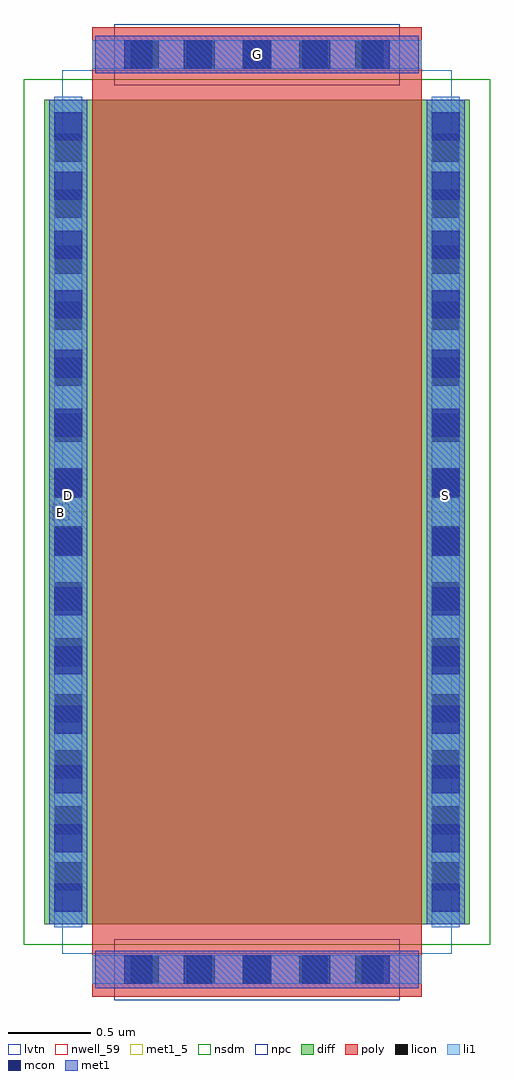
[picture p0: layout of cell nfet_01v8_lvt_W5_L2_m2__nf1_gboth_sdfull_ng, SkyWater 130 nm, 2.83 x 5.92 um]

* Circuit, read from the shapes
.subckt nfet_01v8_lvt_W5_L2_m2__nf1_gboth_sdfull_ng B D G S
XM1 S G D B sky130_fd_pr__nfet_01v8_lvt w=5 l=2
.ends

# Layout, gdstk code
import gdstk
lib = gdstk.Library(unit=1e-6, precision=1e-09)
def R(c, l, rs):  # rectangles x0, y0, x1, y1
    for r in rs: c.add(gdstk.rectangle(r[:2], r[2:], *l))
def A(c, l, x, y, w, h, nx, ny, dx, dy):  # array of equal rectangles
    R(c, l, [(x+i*dx, y+j*dy, x+i*dx+w, y+j*dy+h) for i in range(nx) for j in range(ny)])
nwell_59 = (64, 59)
diff = (65, 20)
poly = (66, 20)
licon = (66, 44)
li1 = (67, 20)
mcon = (67, 44)
met1_5 = (68, 5)
met1 = (68, 20)
nsdm = (93, 44)
npc = (95, 20)
lvtn = (125, 44)

sky130_fd_pr__nfet_01v8_ = lib.new_cell('sky130_fd_pr__nfet_01v8_lvt_ZCNT58')
R(sky130_fd_pr__nfet_01v8_, diff, [(-1.29,-2.5,1.29,2.5)])
R(sky130_fd_pr__nfet_01v8_, poly, [(-1,-2.94,1,2.94)])
A(sky130_fd_pr__nfet_01v8_, licon, -0.765, -2.86, 0.17, 0.17, 5, 2, 0.34, 5.55)
A(sky130_fd_pr__nfet_01v8_, licon, -1.23, -2.295, 0.17, 0.17, 1, 14, 0, 0.34)
A(sky130_fd_pr__nfet_01v8_, licon, 1.06, -2.295, 0.17, 0.17, 1, 14, 0, 0.34)
R(sky130_fd_pr__nfet_01v8_, li1, [(-1,-2.86,1,-2.69), (-1.23,-2.52,-1.06,2.52), (1.06,-2.52,1.23,2.52), (-1,2.69,1,2.86)])
A(sky130_fd_pr__nfet_01v8_, mcon, -0.805, -2.86, 0.17, 0.17, 5, 2, 0.36, 5.55)
A(sky130_fd_pr__nfet_01v8_, mcon, -1.23, -2.425, 0.17, 0.17, 1, 14, 0, 0.36)
A(sky130_fd_pr__nfet_01v8_, mcon, 1.06, -2.425, 0.17, 0.17, 1, 14, 0, 0.36)
R(sky130_fd_pr__nfet_01v8_, met1, [(-0.98,-2.89,0.98,-2.66), (-1.26,-2.5,-1.03,2.5), (1.03,-2.5,1.26,2.5), (-0.98,2.66,0.98,2.89)])
R(sky130_fd_pr__nfet_01v8_, nsdm, [(-1.415,-2.625,1.415,2.625)])
R(sky130_fd_pr__nfet_01v8_, npc, [(-0.865,-2.96,0.865,-2.59), (-0.865,2.59,0.865,2.96)])
R(sky130_fd_pr__nfet_01v8_, lvtn, [(-1.18,-2.68,1.18,2.68)])
sky130_fd_pr__nfet_01v8_.add(gdstk.Label('D', (-1.145,0), layer=67, texttype=5))
sky130_fd_pr__nfet_01v8_.add(gdstk.Label('S', (1.145,0), layer=67, texttype=5))
sky130_fd_pr__nfet_01v8_.add(gdstk.Label('G', (0,2.775), layer=67, texttype=5))

nfet_01v8_lvt_w5_l2_m2__ = lib.new_cell('nfet_01v8_lvt_W5_L2_m2__nf1_gboth_sdfull_ng')
R(nfet_01v8_lvt_w5_l2_m2__, nwell_59, [(0.05,2.89,0.15,2.99)])
R(nfet_01v8_lvt_w5_l2_m2__, met1_5, [(0.03,2.94,0.26,3.14), (2.32,2.94,2.55,3.14), (0.31,5.6,2.27,5.83)])
R(nfet_01v8_lvt_w5_l2_m2__, met1, [(0.03,2.94,0.26,3.14), (2.32,2.94,2.55,3.14), (0.31,5.6,2.27,5.83)])
nfet_01v8_lvt_w5_l2_m2__.add(gdstk.Reference(sky130_fd_pr__nfet_01v8_, (1.29,2.94)))
nfet_01v8_lvt_w5_l2_m2__.add(gdstk.Label('D', (0.145,3.04), layer=68, texttype=5))
nfet_01v8_lvt_w5_l2_m2__.add(gdstk.Label('S', (2.435,3.04), layer=68, texttype=5))
nfet_01v8_lvt_w5_l2_m2__.add(gdstk.Label('G', (1.29,5.715), layer=68, texttype=5))
nfet_01v8_lvt_w5_l2_m2__.add(gdstk.Label('B', (0.1,2.94), layer=64, texttype=59))

lib.write_gds('nfet_01v8_lvt_W5_L2_m2__nf1_gboth_sdfull_ng.gds')
